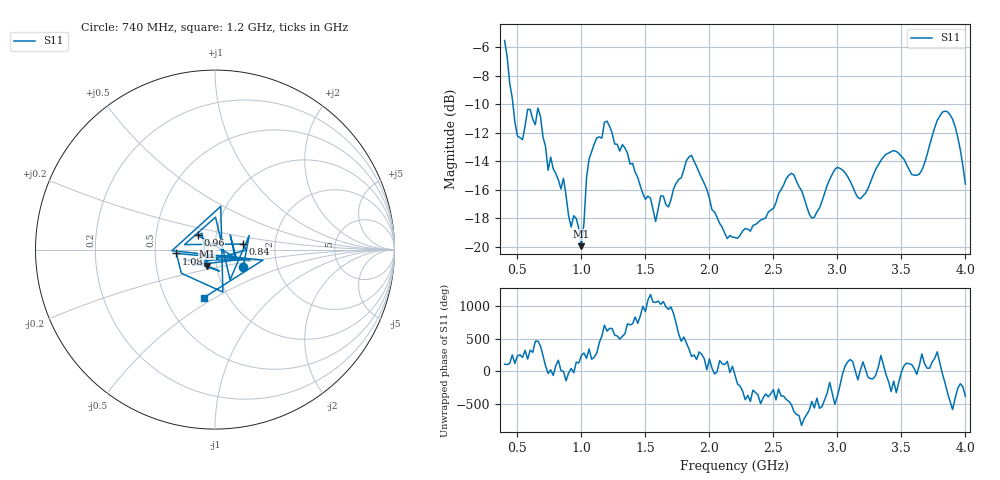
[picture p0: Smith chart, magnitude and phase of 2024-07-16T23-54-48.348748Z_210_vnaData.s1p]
!Created with skrf (http://scikit-rf.org).
# Hz S RI R 50.0
!freq ReS11 ImS11
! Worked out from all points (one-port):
!   181 points, 400 MHz to 4 GHz, reference 50 ohm
!   lowest |S11| = -19.9 dB at 1 GHz (marker M1), VSWR 1.22, Z = 45.1 - j8.25 ohm
!   |S11| at or under -10 dB: 465.1 MHz to end of sweep
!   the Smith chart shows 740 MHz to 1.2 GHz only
!   S11 on the Smith chart (normalised r, x): 740 MHz: 1.34, -0.28; 840 MHz: 1.37, +0.09; 960 MHz: 0.81, +0.13; 1.08 GHz: 0.65, -0.03; 1.2 GHz: 0.77, -0.45
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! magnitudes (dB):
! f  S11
! 400 MHz  -5.5
! 500 MHz  -12.2
! 660 MHz  -10.3
! 740 MHz  -14.6
! 760 MHz  -13.7
! 840 MHz  -15.9
! 860 MHz  -15.2
! 920 MHz  -18.6
! 960 MHz  -18.0
! 1 GHz  -19.9
! 1.04 GHz  -15.2
! 1.08 GHz  -13.3
! 1.2 GHz  -11.2
! 1.3 GHz  -13.3
! 1.58 GHz  -18.2
! 1.76 GHz  -15.3
! 1.86 GHz  -13.6
! 2.2 GHz  -19.3
! 2.66 GHz  -14.9
! 2.8 GHz  -18.0
! 2.98 GHz  -14.6
! 3.1 GHz  -15.4
! 3.18 GHz  -16.6
! 3.44 GHz  -13.3
! 3.56 GHz  -14.6
! 3.66 GHz  -14.6
! 3.86 GHz  -10.5
! 4 GHz  -15.6
